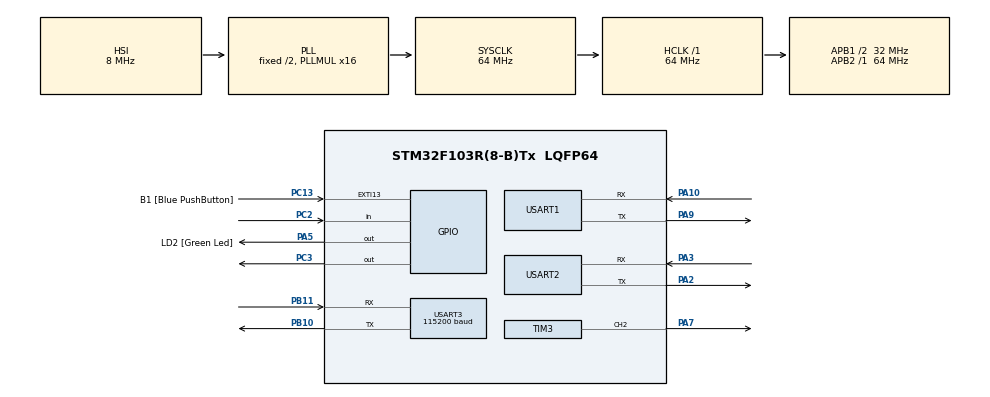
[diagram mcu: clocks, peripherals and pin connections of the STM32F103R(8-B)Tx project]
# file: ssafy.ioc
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Mcu.Family=STM32F1
Mcu.Name=STM32F103R(8-B)Tx
Mcu.Package=LQFP64
NVIC.EXTI15_10_IRQn=true\:0\:0\:false\:false\:true\:true\:true\:true
NVIC.PriorityGroup=NVIC_PRIORITYGROUP_4
NVIC.TIM3_IRQn=true\:0\:0\:false\:false\:true\:true\:true\:true
NVIC.USART1_IRQn=true\:0\:0\:false\:false\:true\:true\:true\:true
NVIC.USART2_IRQn=true\:0\:0\:false\:false\:true\:true\:true\:true
NVIC.USART3_IRQn=true\:0\:0\:false\:false\:true\:true\:true\:true
PA10.Mode=Asynchronous
PA10.Signal=USART1_RX
PA13.GPIO_Label=TMS
PA13.Mode=Serial_Wire
PA13.Signal=SYS_JTMS-SWDIO
PA14.GPIO_Label=TCK
PA14.Mode=Serial_Wire
PA14.Signal=SYS_JTCK-SWCLK
PA2.Mode=Asynchronous
PA2.Signal=USART2_TX
PA3.Mode=Asynchronous
PA3.Signal=USART2_RX
PA5.GPIO_Label=LD2 [Green Led]
PA5.GPIO_ModeDefaultOutputPP=GPIO_MODE_OUTPUT_PP
PA5.GPIO_PuPd=GPIO_NOPULL
PA5.GPIO_Speed=GPIO_SPEED_FREQ_LOW
PA5.Signal=GPIO_Output
PA7.Signal=S_TIM3_CH2
PA9.Mode=Asynchronous
PA9.Signal=USART1_TX
PB10.Mode=Asynchronous
PB10.Signal=USART3_TX
PB11.Mode=Asynchronous
PB11.Signal=USART3_RX
PB3.GPIO_Label=SWO
PB3.Signal=SYS_JTDO-TRACESWO
PC13-TAMPER-RTC.GPIO_Label=B1 [Blue PushButton]
PC13-TAMPER-RTC.GPIO_PuPd=GPIO_NOPULL
PC13-TAMPER-RTC.Signal=GPXTI13
PC14-OSC32_IN.Mode=LSE-External-Oscillator
PC14-OSC32_IN.Signal=RCC_OSC32_IN
PC15-OSC32_OUT.Mode=LSE-External-Oscillator
PC15-OSC32_OUT.Signal=RCC_OSC32_OUT
PC2.Signal=GPIO_Input
PC3.Signal=GPIO_Output
PD0-OSC_IN.Mode=HSE-External-Clock-Source
PD0-OSC_IN.Signal=RCC_OSC_IN
PD1-OSC_OUT.Mode=HSE-External-Clock-Source
PD1-OSC_OUT.Signal=RCC_OSC_OUT
ProjectManager.HeapSize=0x200
ProjectManager.StackSize=0x400
ProjectManager.TargetToolchain=STM32CubeIDE
RCC.AHBFreq_Value=64000000
RCC.APB1CLKDivider=RCC_HCLK_DIV2
RCC.APB1Freq_Value=32000000
RCC.APB1TimFreq_Value=64000000
RCC.APB2Freq_Value=64000000
RCC.APB2TimFreq_Value=64000000
RCC.HCLKFreq_Value=64000000
RCC.PLLMUL=RCC_PLL_MUL16
RCC.RTCClockSelection=RCC_RTCCLKSOURCE_LSE
RCC.SYSCLKFreq_VALUE=64000000
RCC.SYSCLKSource=RCC_SYSCLKSOURCE_PLLCLK
RCC.USBFreq_Value=64000000
SH.S_TIM3_CH2.0=TIM3_CH2,PWM Generation2 CH2
TIM3.Channel-PWM\ Generation2\ CH2=TIM_CHANNEL_2
TIM3.Period=1000-1
TIM3.Prescaler=1280-1
USART1.VirtualMode=VM_ASYNC
USART2.VirtualMode=VM_ASYNC
USART3.BaudRate=115200
USART3.VirtualMode=VM_ASYNC
VP_TIM3_VS_ClockSourceINT.Mode=Internal
board=NUCLEO-F103RB

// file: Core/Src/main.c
/* USER CODE BEGIN Header */
/**
  ******************************************************************************
  * @file           : main.c
  * @brief          : Main program body
  ******************************************************************************
  * @attention
  *
  * Copyright (c) 2024 STMicroelectronics.
  * All rights reserved.
  *
  * This software is licensed under terms that can be found in the LICENSE file
  * in the root directory of this software component.
  * If no LICENSE file comes with this software, it is provided AS-IS.
  *
  ******************************************************************************
  */
/* USER CODE END Header */
#include "main.h"
#include "tim.h"
#include "usart.h"
#include "gpio.h"
//#include "func.c"
/* USER CODE BEGIN Includes */
#include <string.h>
#include <stdio.h>
/* USER CODE END Includes */

/* USER CODE BEGIN PD */
#define HX711_DT_PIN GPIO_PIN_2
#define HX711_DT_PORT GPIOC
#define HX711_SCK_PIN GPIO_PIN_3
#define HX711_SCK_PORT GPIOC
/* USER CODE END PD */

void SystemClock_Config(void);
/* USER CODE BEGIN PFP */
int32_t HX711_Read(void);
void HX711_Init(void);
int _write(int file, char *ptr, int len);
int _read(int file, char *ptr, int len);
void receive_ESP(int mode);
void send_ESP(char* cmd, char* send_data);
void parse_IPD(char* buffer);

/* USER CODE END PFP */

/* USER CODE BEGIN 0 */
int servo = 0;
/* USER CODE END 0 */

int main(void)
{

  /* MCU Configuration--------------------------------------------------------*/

  /* Reset of all peripherals, Initializes the Flash interface and the Systick. */
  HAL_Init();

  /* Configure the system clock */
  SystemClock_Config();

  /* Initialize all configured peripherals */
  MX_GPIO_Init();
  MX_USART1_UART_Init();
  MX_USART3_UART_Init();
  MX_TIM3_Init();
  MX_USART2_UART_Init();
  /* USER CODE BEGIN 2 */
  HAL_TIM_PWM_Start(&htim3,TIM_CHANNEL_2); // Add PWM Servo Motor
  HX711_Init();

  // ESP-01 Setting
  send_ESP("AT\r\n", "");
  HAL_Delay(1000);
  send_ESP("AT+CWMODE=1\r\n", "");
  HAL_Delay(5000);
  send_ESP("AT+CWJAP=\"PI_AP\",\"12341234\"\r\n", "");
  HAL_Delay(5000);
  send_ESP("AT+CIPSTART=\"TCP\",\"70.12.108.100\",8080\r\n", "");
  HAL_Delay(5000);

  /* USER CODE END 2 */

  /* Infinite loop */
  while (1)
  {

    /* USER CODE BEGIN 3 */

	// AT+CIPSEND : Data length
//	send_ESP("AT+CIPSEND=8\r\n", "123456\r\n");

	// ready to receive data
	receive_ESP(1);
//	HAL_Delay(1000);

//	// if data request
	if (servo == 1000) {
		send_ESP("AT+CIPSEND=4\r\n", "OK\r\n");
		HAL_Delay(1000);

		int32_t weight = HX711_Read();
		weight = (weight * 500) / 8388607;
		char str[9];
		sprintf(str, "%ld\r\n", weight);

		if (weight >= 0 && weight <= 9) {
			send_ESP("AT+CIPSEND=3\r\n", str);
		} else if (weight >= 10 && weight <= 99) {
			send_ESP("AT+CIPSEND=4\r\n", str);
		} else {
			send_ESP("AT+CIPSEND=5\r\n", str);
		}

//		HAL_UART_Transmit(&huart2, str, strlen(str), 32);
		servo = 0;
		continue;
	}
	// if meal
	if (servo > 0) {

		send_ESP("AT+CIPSEND=4\r\n", "OK\r\n");
		HAL_Delay(1000);

		while (servo > 0) {
			__HAL_TIM_SetCompare(&htim3, TIM_CHANNEL_2, 55);
			HAL_Delay(500);

			__HAL_TIM_SetCompare(&htim3, TIM_CHANNEL_2, 95);
			HAL_Delay(500);

			servo -= 10;
			printf("%d\r\n", servo);
		}

		continue;
	}

  }
  /* USER CODE END 3 */
}

void SystemClock_Config(void)
{
  RCC_OscInitTypeDef RCC_OscInitStruct = {0};
  RCC_ClkInitTypeDef RCC_ClkInitStruct = {0};

  /** Initializes the RCC Oscillators according to the specified parameters
  * in the RCC_OscInitTypeDef structure.
  */
  RCC_OscInitStruct.OscillatorType = RCC_OSCILLATORTYPE_HSI;
  RCC_OscInitStruct.HSIState = RCC_HSI_ON;
  RCC_OscInitStruct.HSICalibrationValue = RCC_HSICALIBRATION_DEFAULT;
  RCC_OscInitStruct.PLL.PLLState = RCC_PLL_ON;
  RCC_OscInitStruct.PLL.PLLSource = RCC_PLLSOURCE_HSI_DIV2;
  RCC_OscInitStruct.PLL.PLLMUL = RCC_PLL_MUL16;
  if (HAL_RCC_OscConfig(&RCC_OscInitStruct) != HAL_OK)
  {
    Error_Handler();
  }

  /** Initializes the CPU, AHB and APB buses clocks
  */
  RCC_ClkInitStruct.ClockType = RCC_CLOCKTYPE_HCLK|RCC_CLOCKTYPE_SYSCLK
                              |RCC_CLOCKTYPE_PCLK1|RCC_CLOCKTYPE_PCLK2;
  RCC_ClkInitStruct.SYSCLKSource = RCC_SYSCLKSOURCE_PLLCLK;
  RCC_ClkInitStruct.AHBCLKDivider = RCC_SYSCLK_DIV1;
  RCC_ClkInitStruct.APB1CLKDivider = RCC_HCLK_DIV2;
  RCC_ClkInitStruct.APB2CLKDivider = RCC_HCLK_DIV1;

  if (HAL_RCC_ClockConfig(&RCC_ClkInitStruct, FLASH_LATENCY_2) != HAL_OK)
  {
    Error_Handler();
  }
}

/* USER CODE BEGIN 4 */
// Load Cell
void HX711_Init(void)
{
    // GPIO 초기?��
    GPIO_InitTypeDef GPIO_InitStruct = {0};

    // SCK ?? ?��?��
    GPIO_InitStruct.Pin = HX711_SCK_PIN;
    GPIO_InitStruct.Mode = GPIO_MODE_OUTPUT_PP;
    GPIO_InitStruct.Pull = GPIO_NOPULL;
    GPIO_InitStruct.Speed = GPIO_SPEED_FREQ_LOW;
    HAL_GPIO_Init(HX711_SCK_PORT, &GPIO_InitStruct);

    // DT ?? ?��?��
    GPIO_InitStruct.Pin = HX711_DT_PIN;
    GPIO_InitStruct.Mode = GPIO_MODE_INPUT;
    GPIO_InitStruct.Pull = GPIO_NOPULL;
    HAL_GPIO_Init(HX711_DT_PORT, &GPIO_InitStruct);

    // SCK ???�� LOW�??? ?��?��
    HAL_GPIO_WritePin(HX711_SCK_PORT, HX711_SCK_PIN, GPIO_PIN_RESET);
}

int32_t HX711_Read(void)
{
    int32_t count = 0;
    uint8_t i;

    // ?��?��?�� �???�??? ??�???
    while (HAL_GPIO_ReadPin(HX711_DT_PORT, HX711_DT_PIN) == GPIO_PIN_SET);

    for (i = 0; i < 24; i++)
    {
        HAL_GPIO_WritePin(HX711_SCK_PORT, HX711_SCK_PIN, GPIO_PIN_SET);
        count = count << 1;
        HAL_GPIO_WritePin(HX711_SCK_PORT, HX711_SCK_PIN, GPIO_PIN_RESET);
        if (HAL_GPIO_ReadPin(HX711_DT_PORT, HX711_DT_PIN))
            count++;
    }

    // 추�??��?�� ?��?�� ?��?��
    HAL_GPIO_WritePin(HX711_SCK_PORT, HX711_SCK_PIN, GPIO_PIN_SET);
//    count = count ^ 0x800000;  // �????�� 비트 ?��?��
    HAL_GPIO_WritePin(HX711_SCK_PORT, HX711_SCK_PIN, GPIO_PIN_RESET);

    return count;
}

int _read(int file, char *ptr, int len)
{
	HAL_UART_Receive(&huart2, (uint8_t*)ptr, 1, 0xFFFF);
	HAL_UART_Transmit(&huart2, (uint8_t*)ptr, 1, 100);
	return 1;
}

int _write(int file, char *ptr, int len)
{
	HAL_UART_Transmit(&huart2, (uint8_t*)ptr, len, 100);
	return len;
}

// ESP-01 UART
void send_ESP(char* cmd, char* send_data)
{
//  HAL_UART_Transmit(&huart3, (uint8_t*)cmd, strlen(cmd), HAL_MAX_DELAY);
  HAL_UART_Transmit(&huart3, (uint8_t*)cmd, strlen(cmd), HAL_MAX_DELAY);
  HAL_Delay(500);
//  log
  receive_ESP(0);

  // if
  if (strncmp(cmd, "AT+CIPSEND", 10) == 0) {
	  HAL_Delay(500);
	  HAL_UART_Transmit(&huart3, (uint8_t*)send_data, strlen(send_data), HAL_MAX_DELAY);
	  printf("send data : %s\r\n", send_data);
//	  receive_ESP(1);
  } else {
//	  receive_ESP(0);
  }
  // AT COMMAND
}

void receive_ESP(int mode)
{
	char rx_buffer[100];

	HAL_UART_Receive(&huart3, (uint8_t*)rx_buffer, sizeof(rx_buffer) - 1, 1000);  // 1초 대기
	rx_buffer[sizeof(rx_buffer) - 1] = '\0';  // end Point Null
	HAL_Delay(500); //

	// Mode 0 : AT response Mode 1 : Server response
	if (mode == 0) {
		// nomal response
		printf("Received data: %s\r\n", rx_buffer);
	} else {
		// server response
		parse_IPD(rx_buffer);
	}
}

// Data Preprocessing
void parse_IPD(char* buffer)
{
    char* ipd_ptr = strstr(buffer, "+IPD,");
    if (ipd_ptr != NULL)
    {
        ipd_ptr += 5;  // "+IPD,"
        char* length_ptr = strchr(ipd_ptr, ':');
        if (length_ptr != NULL)
        {
            *length_ptr = '\0';
            int length = atoi(ipd_ptr);
            char* data_ptr = length_ptr + 1;
            data_ptr[length] = '\0';  // 데이터의 끝을 NULL로 설정합니다.

            // preprocessing data
            printf("Preprocessing data: %d\r\n", atoi(data_ptr));
            servo = atoi(data_ptr);
        }
    }
}
/* USER CODE END 4 */

void Error_Handler(void)
{
  __disable_irq();
  while (1)
  {
  }
}
